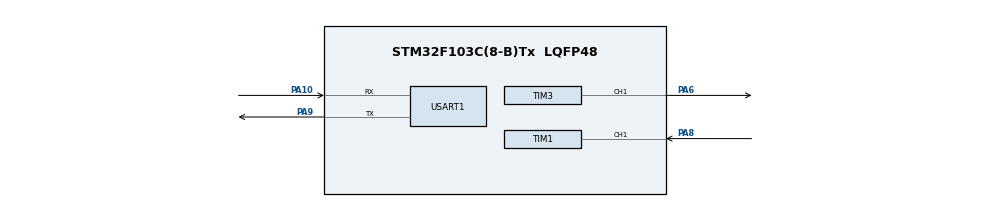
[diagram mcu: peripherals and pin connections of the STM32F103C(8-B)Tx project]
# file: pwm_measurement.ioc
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Mcu.Family=STM32F1
Mcu.Name=STM32F103C(8-B)Tx
Mcu.Package=LQFP48
NVIC.PriorityGroup=NVIC_PRIORITYGROUP_4
PA10.Mode=Asynchronous
PA10.Signal=USART1_RX
PA13.Mode=Serial_Wire
PA13.Signal=SYS_JTMS-SWDIO
PA14.Mode=Serial_Wire
PA14.Signal=SYS_JTCK-SWCLK
PA6.Signal=S_TIM3_CH1
PA8.Signal=S_TIM1_CH1
PA9.Mode=Asynchronous
PA9.Signal=USART1_TX
ProjectManager.HeapSize=0x200
ProjectManager.StackSize=0x400
ProjectManager.TargetToolchain=STM32CubeIDE
RCC.APB1Freq_Value=8000000
RCC.APB2Freq_Value=8000000
SH.S_TIM1_CH1.0=TIM1_CH1,Input_Capture1_from_TI1
SH.S_TIM1_CH1.1=TIM1_CH1,TriggerSource_TI1FP1
SH.S_TIM3_CH1.0=TIM3_CH1,PWM Generation1 CH1
TIM1.AutoReloadPreload=TIM_AUTORELOAD_PRELOAD_ENABLE
TIM1.Channel-Input_Capture1_from_TI1=TIM_CHANNEL_1
TIM1.Channel-Input_Capture2_from_TI1_63=TIM_CHANNEL_2
TIM1.ICPolarity_CH2=TIM_INPUTCHANNELPOLARITY_FALLING
TIM1.Prescaler=7
TIM3.AutoReloadPreload=TIM_AUTORELOAD_PRELOAD_ENABLE
TIM3.Channel-PWM\ Generation1\ CH1=TIM_CHANNEL_1
TIM3.Period=999
TIM3.Prescaler=7
TIM3.Pulse-PWM\ Generation1\ CH1=200
USART1.VirtualMode=VM_ASYNC
VP_TIM1_VS_ClockSourceINT.Mode=Internal
VP_TIM1_VS_ControllerModeReset.Mode=Reset Mode
VP_TIM1_VS_indirect_ch1.Mode=Input_Capture2_from_TI1_63
VP_TIM3_VS_ClockSourceINT.Mode=Internal
board=custom

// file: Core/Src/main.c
/* USER CODE BEGIN Header */
/**
 ******************************************************************************
 * @file           : main.c
 * @brief          : Main program body
 ******************************************************************************
 * @attention
 *
 * Copyright (c) 2024 STMicroelectronics.
 * All rights reserved.
 *
 * This software is licensed under terms that can be found in the LICENSE file
 * in the root directory of this software component.
 * If no LICENSE file comes with this software, it is provided AS-IS.
 *
 ******************************************************************************
 */
/* USER CODE END Header */
#include "main.h"

TIM_HandleTypeDef htim1;
TIM_HandleTypeDef htim3;

UART_HandleTypeDef huart1;

void SystemClock_Config(void);
static void MX_GPIO_Init(void);
static void MX_USART1_UART_Init(void);
static void MX_TIM3_Init(void);
static void MX_TIM1_Init(void);

/* USER CODE BEGIN 0 */
#include <stdarg.h>
#include <stdio.h>
#include <string.h>

static void uart_printf(const char *format, ...) {
	char tmp[128];

	va_list argptr;
	va_start(argptr, format);
	vsprintf((char *) tmp, format, argptr);
	va_end(argptr);

	HAL_UART_Transmit(&huart1, (const uint8_t*) tmp, strlen(tmp), HAL_MAX_DELAY);
}
/* USER CODE END 0 */

int main(void) {

	/* MCU Configuration--------------------------------------------------------*/

	/* Reset of all peripherals, Initializes the Flash interface and the Systick. */
	HAL_Init();

	/* Configure the system clock */
	SystemClock_Config();

	/* Initialize all configured peripherals */
	MX_GPIO_Init();
	MX_USART1_UART_Init();
	MX_TIM3_Init();
	MX_TIM1_Init();
	/* USER CODE BEGIN 2 */
	//HAL_UART_Transmit(&huart1, (const uint8_t*) "Hello, world!", 12,HAL_MAX_DELAY);
	HAL_TIM_PWM_Start(&htim3, TIM_CHANNEL_1);
	/* USER CODE END 2 */

	/* Infinite loop */
	/* USER CODE BEGIN WHILE */
	while (1) {
		__HAL_TIM_CLEAR_FLAG(&htim1, TIM_FLAG_CC1);

		HAL_TIM_IC_Start(&htim1, TIM_CHANNEL_1);
		HAL_TIM_IC_Start(&htim1, TIM_CHANNEL_2);

		while (__HAL_TIM_GET_FLAG(&htim1, TIM_FLAG_CC1) == 0)
			;
		__HAL_TIM_CLEAR_FLAG(&htim1, TIM_FLAG_CC1);

		while (__HAL_TIM_GET_FLAG(&htim1, TIM_FLAG_CC1) == 0)
			;

		HAL_TIM_IC_Stop(&htim1, TIM_CHANNEL_1);
		HAL_TIM_IC_Stop(&htim1, TIM_CHANNEL_2);

		uint16_t ccr1 = __HAL_TIM_GET_COMPARE(&htim1, TIM_CHANNEL_1);
		uint16_t ccr2 = __HAL_TIM_GET_COMPARE(&htim1, TIM_CHANNEL_2);

		float period = ccr1 * 1e-6f;
		float pulse_width = ccr2 * 1e-6f;
		float duty = pulse_width / period;

		uart_printf("Pulse width = %.1fus, Period = %.1fus, duty = %.1f%%", pulse_width*1e6f, period*1e6f, duty*100.0f);
		HAL_Delay(500);
		/* USER CODE END WHILE */

	}
}

void SystemClock_Config(void) {
	RCC_OscInitTypeDef RCC_OscInitStruct = { 0 };
	RCC_ClkInitTypeDef RCC_ClkInitStruct = { 0 };

	/** Initializes the RCC Oscillators according to the specified parameters
	 * in the RCC_OscInitTypeDef structure.
	 */
	RCC_OscInitStruct.OscillatorType = RCC_OSCILLATORTYPE_HSI;
	RCC_OscInitStruct.HSIState = RCC_HSI_ON;
	RCC_OscInitStruct.HSICalibrationValue = RCC_HSICALIBRATION_DEFAULT;
	RCC_OscInitStruct.PLL.PLLState = RCC_PLL_NONE;
	if (HAL_RCC_OscConfig(&RCC_OscInitStruct) != HAL_OK) {
		Error_Handler();
	}

	/** Initializes the CPU, AHB and APB buses clocks
	 */
	RCC_ClkInitStruct.ClockType = RCC_CLOCKTYPE_HCLK | RCC_CLOCKTYPE_SYSCLK
			| RCC_CLOCKTYPE_PCLK1 | RCC_CLOCKTYPE_PCLK2;
	RCC_ClkInitStruct.SYSCLKSource = RCC_SYSCLKSOURCE_HSI;
	RCC_ClkInitStruct.AHBCLKDivider = RCC_SYSCLK_DIV1;
	RCC_ClkInitStruct.APB1CLKDivider = RCC_HCLK_DIV1;
	RCC_ClkInitStruct.APB2CLKDivider = RCC_HCLK_DIV1;

	if (HAL_RCC_ClockConfig(&RCC_ClkInitStruct, FLASH_LATENCY_0) != HAL_OK) {
		Error_Handler();
	}
}

static void MX_TIM1_Init(void) {

	TIM_ClockConfigTypeDef sClockSourceConfig = { 0 };
	TIM_SlaveConfigTypeDef sSlaveConfig = { 0 };
	TIM_MasterConfigTypeDef sMasterConfig = { 0 };
	TIM_IC_InitTypeDef sConfigIC = { 0 };

	htim1.Instance = TIM1;
	htim1.Init.Prescaler = 7;
	htim1.Init.CounterMode = TIM_COUNTERMODE_UP;
	htim1.Init.Period = 65535;
	htim1.Init.ClockDivision = TIM_CLOCKDIVISION_DIV1;
	htim1.Init.RepetitionCounter = 0;
	htim1.Init.AutoReloadPreload = TIM_AUTORELOAD_PRELOAD_ENABLE;
	if (HAL_TIM_Base_Init(&htim1) != HAL_OK) {
		Error_Handler();
	}
	sClockSourceConfig.ClockSource = TIM_CLOCKSOURCE_INTERNAL;
	if (HAL_TIM_ConfigClockSource(&htim1, &sClockSourceConfig) != HAL_OK) {
		Error_Handler();
	}
	if (HAL_TIM_IC_Init(&htim1) != HAL_OK) {
		Error_Handler();
	}
	sSlaveConfig.SlaveMode = TIM_SLAVEMODE_RESET;
	sSlaveConfig.InputTrigger = TIM_TS_TI1FP1;
	sSlaveConfig.TriggerPolarity = TIM_INPUTCHANNELPOLARITY_RISING;
	sSlaveConfig.TriggerFilter = 0;
	if (HAL_TIM_SlaveConfigSynchro(&htim1, &sSlaveConfig) != HAL_OK) {
		Error_Handler();
	}
	sMasterConfig.MasterOutputTrigger = TIM_TRGO_RESET;
	sMasterConfig.MasterSlaveMode = TIM_MASTERSLAVEMODE_DISABLE;
	if (HAL_TIMEx_MasterConfigSynchronization(&htim1, &sMasterConfig)
			!= HAL_OK) {
		Error_Handler();
	}
	sConfigIC.ICPolarity = TIM_INPUTCHANNELPOLARITY_RISING;
	sConfigIC.ICSelection = TIM_ICSELECTION_DIRECTTI;
	sConfigIC.ICPrescaler = TIM_ICPSC_DIV1;
	sConfigIC.ICFilter = 0;
	if (HAL_TIM_IC_ConfigChannel(&htim1, &sConfigIC, TIM_CHANNEL_1) != HAL_OK) {
		Error_Handler();
	}
	sConfigIC.ICPolarity = TIM_INPUTCHANNELPOLARITY_FALLING;
	sConfigIC.ICSelection = TIM_ICSELECTION_INDIRECTTI;
	if (HAL_TIM_IC_ConfigChannel(&htim1, &sConfigIC, TIM_CHANNEL_2) != HAL_OK) {
		Error_Handler();
	}

}

static void MX_TIM3_Init(void) {

	TIM_ClockConfigTypeDef sClockSourceConfig = { 0 };
	TIM_MasterConfigTypeDef sMasterConfig = { 0 };
	TIM_OC_InitTypeDef sConfigOC = { 0 };

	htim3.Instance = TIM3;
	htim3.Init.Prescaler = 7;
	htim3.Init.CounterMode = TIM_COUNTERMODE_UP;
	htim3.Init.Period = 999;
	htim3.Init.ClockDivision = TIM_CLOCKDIVISION_DIV1;
	htim3.Init.AutoReloadPreload = TIM_AUTORELOAD_PRELOAD_ENABLE;
	if (HAL_TIM_Base_Init(&htim3) != HAL_OK) {
		Error_Handler();
	}
	sClockSourceConfig.ClockSource = TIM_CLOCKSOURCE_INTERNAL;
	if (HAL_TIM_ConfigClockSource(&htim3, &sClockSourceConfig) != HAL_OK) {
		Error_Handler();
	}
	if (HAL_TIM_PWM_Init(&htim3) != HAL_OK) {
		Error_Handler();
	}
	sMasterConfig.MasterOutputTrigger = TIM_TRGO_RESET;
	sMasterConfig.MasterSlaveMode = TIM_MASTERSLAVEMODE_DISABLE;
	if (HAL_TIMEx_MasterConfigSynchronization(&htim3, &sMasterConfig)
			!= HAL_OK) {
		Error_Handler();
	}
	sConfigOC.OCMode = TIM_OCMODE_PWM1;
	sConfigOC.Pulse = 200;
	sConfigOC.OCPolarity = TIM_OCPOLARITY_HIGH;
	sConfigOC.OCFastMode = TIM_OCFAST_DISABLE;
	if (HAL_TIM_PWM_ConfigChannel(&htim3, &sConfigOC, TIM_CHANNEL_1)
			!= HAL_OK) {
		Error_Handler();
	}
	HAL_TIM_MspPostInit(&htim3);

}

static void MX_USART1_UART_Init(void) {

	huart1.Instance = USART1;
	huart1.Init.BaudRate = 115200;
	huart1.Init.WordLength = UART_WORDLENGTH_8B;
	huart1.Init.StopBits = UART_STOPBITS_1;
	huart1.Init.Parity = UART_PARITY_NONE;
	huart1.Init.Mode = UART_MODE_TX_RX;
	huart1.Init.HwFlowCtl = UART_HWCONTROL_NONE;
	huart1.Init.OverSampling = UART_OVERSAMPLING_16;
	if (HAL_UART_Init(&huart1) != HAL_OK) {
		Error_Handler();
	}

}

static void MX_GPIO_Init(void) {

	/* GPIO Ports Clock Enable */
	__HAL_RCC_GPIOA_CLK_ENABLE();

}

void Error_Handler(void) {
	__disable_irq();
	while (1) {
	}
}
